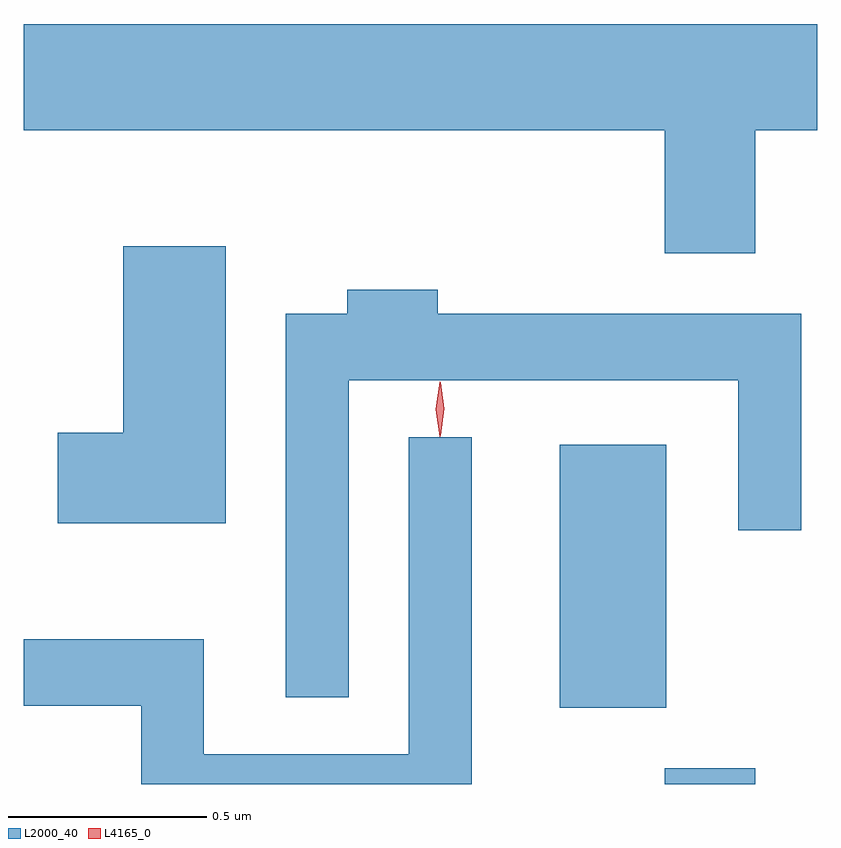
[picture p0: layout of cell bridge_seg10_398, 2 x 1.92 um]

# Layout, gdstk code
import gdstk
lib = gdstk.Library(unit=1e-6, precision=1e-09)
def R(c, l, rs):  # rectangles x0, y0, x1, y1
    for r in rs: c.add(gdstk.rectangle(r[:2], r[2:], *l))
def P(c, l, *ps):  # polygons
    for p in ps: c.add(gdstk.Polygon(p, *l))
L2000_40 = (2000, 40)
L4165_0 = (4165, 0)

bridge_seg10_398 = lib.new_cell('bridge_seg10_398')
R(bridge_seg10_398, L2000_40, [(1062.451,2132.249,1062.679,2132.289), (1062.186,2132.441,1062.454,2133.104)])
P(bridge_seg10_398, L2000_40, [(1062.679,2133.896),(1062.835,2133.896),(1062.835,2134.164),(1060.835,2134.164),(1060.835,2133.896),(1062.451,2133.896),(1062.451,2133.586),(1062.679,2133.586)],
  [(1061.344,2133.604),(1061.086,2133.604),(1061.086,2133.134),(1060.921,2133.134),(1060.921,2132.906),(1061.344,2132.906)],
  [(1061.654,2133.266),(1062.636,2133.266),(1062.636,2132.888),(1062.794,2132.888),(1062.794,2133.434),(1061.879,2133.434),(1061.879,2133.494),(1061.651,2133.494),(1061.651,2133.434),(1061.496,2133.434),(1061.496,2132.468),(1061.654,2132.468)],
  [(1061.964,2133.123),(1061.806,2133.123),(1061.806,2132.324),(1061.289,2132.324),(1061.289,2132.614),(1060.835,2132.614),(1060.835,2132.446),(1061.131,2132.446),(1061.131,2132.249),(1061.964,2132.249)])
P(bridge_seg10_398, L4165_0, [(1061.885,2133.127),(1061.885,2133.128),(1061.875,2133.194),(1061.885,2133.26),(1061.885,2133.261),(1061.886,2133.26),(1061.895,2133.194),(1061.886,2133.128)],
  [(1061.884,2133.124),(1061.884,2133.124),(1061.874,2133.193),(1061.884,2133.262),(1061.884,2133.263),(1061.885,2133.262),(1061.894,2133.193),(1061.885,2133.124)])

lib.write_gds('bridge_seg10_398.gds')
